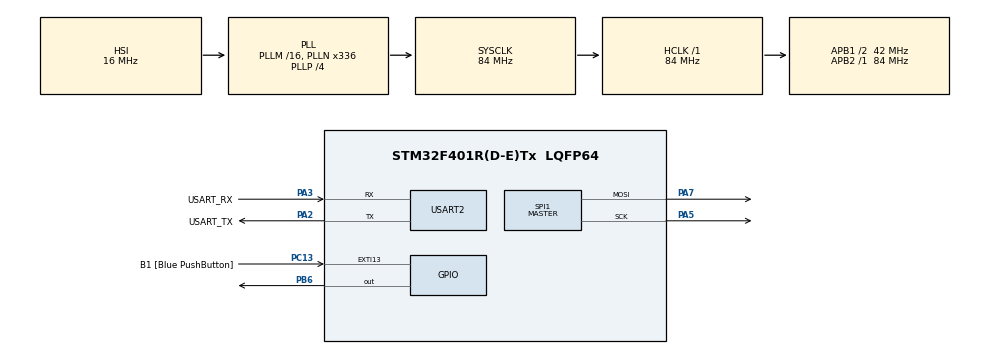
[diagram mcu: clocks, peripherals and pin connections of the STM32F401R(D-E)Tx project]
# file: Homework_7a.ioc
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Mcu.Family=STM32F4
Mcu.Name=STM32F401R(D-E)Tx
Mcu.Package=LQFP64
NVIC.PriorityGroup=NVIC_PRIORITYGROUP_0
NVIC.TIM2_IRQn=true\:0\:0\:false\:false\:true\:true\:true\:true
PA13.GPIO_Label=TMS
PA13.Mode=Serial_Wire
PA13.Signal=SYS_JTMS-SWDIO
PA14.GPIO_Label=TCK
PA14.Mode=Serial_Wire
PA14.Signal=SYS_JTCK-SWCLK
PA2.GPIO_Label=USART_TX
PA2.GPIO_Mode=GPIO_MODE_AF_PP
PA2.GPIO_PuPd=GPIO_NOPULL
PA2.GPIO_Speed=GPIO_SPEED_FREQ_LOW
PA2.Mode=Asynchronous
PA2.Signal=USART2_TX
PA3.GPIO_Label=USART_RX
PA3.GPIO_Mode=GPIO_MODE_AF_PP
PA3.GPIO_PuPd=GPIO_NOPULL
PA3.GPIO_Speed=GPIO_SPEED_FREQ_LOW
PA3.Mode=Asynchronous
PA3.Signal=USART2_RX
PA5.Mode=TX_Only_Simplex_Unidirect_Master
PA5.Signal=SPI1_SCK
PA6.Signal=SPI1_MISO
PA7.Mode=TX_Only_Simplex_Unidirect_Master
PA7.Signal=SPI1_MOSI
PB3.GPIO_Label=SWO
PB3.Signal=SYS_JTDO-SWO
PB6.Signal=GPIO_Output
PC13-ANTI_TAMP.GPIO_Label=B1 [Blue PushButton]
PC13-ANTI_TAMP.GPIO_ModeDefaultEXTI=GPIO_MODE_IT_FALLING
PC13-ANTI_TAMP.GPIO_PuPd=GPIO_NOPULL
PC13-ANTI_TAMP.Signal=GPXTI13
PC14-OSC32_IN.Mode=LSE-External-Oscillator
PC14-OSC32_IN.Signal=RCC_OSC32_IN
PC15-OSC32_OUT.Mode=LSE-External-Oscillator
PC15-OSC32_OUT.Signal=RCC_OSC32_OUT
PH0\ -\ OSC_IN.Mode=HSE-External-Clock-Source
PH0\ -\ OSC_IN.Signal=RCC_OSC_IN
PH1\ -\ OSC_OUT.Mode=HSE-External-Clock-Source
PH1\ -\ OSC_OUT.Signal=RCC_OSC_OUT
ProjectManager.HeapSize=0x200
ProjectManager.StackSize=0x400
ProjectManager.TargetToolchain=STM32CubeIDE
RCC.48MHZClocksFreq_Value=48000000
RCC.AHBFreq_Value=84000000
RCC.APB1CLKDivider=RCC_HCLK_DIV2
RCC.APB1Freq_Value=42000000
RCC.APB1TimFreq_Value=84000000
RCC.APB2Freq_Value=84000000
RCC.APB2TimFreq_Value=84000000
RCC.CortexFreq_Value=84000000
RCC.HCLKFreq_Value=84000000
RCC.HSE_VALUE=8000000
RCC.HSI_VALUE=16000000
RCC.PLLN=336
RCC.PLLP=RCC_PLLP_DIV4
RCC.PLLQ=7
RCC.SYSCLKFreq_VALUE=84000000
RCC.SYSCLKSource=RCC_SYSCLKSOURCE_PLLCLK
RCC.VCOOutputFreq_Value=336000000
SPI1.BaudRatePrescaler=SPI_BAUDRATEPRESCALER_4
SPI1.Direction=SPI_DIRECTION_2LINES
SPI1.Mode=SPI_MODE_MASTER
SPI1.VirtualType=VM_MASTER
TIM2.Period=40-1
TIM2.Prescaler=8400-1
USART2.VirtualMode=VM_ASYNC
VP_TIM2_VS_ClockSourceINT.Mode=Internal
board=NUCLEO-F401RE

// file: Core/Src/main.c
/* USER CODE BEGIN Header */
/**
  ******************************************************************************
  * @file           : main.c
  * @brief          : Main program body
  ******************************************************************************
  * @attention
  *
  * Copyright (c) 2023 STMicroelectronics.
  * All rights reserved.
  *
  * This software is licensed under terms that can be found in the LICENSE file
  * in the root directory of this software component.
  * If no LICENSE file comes with this software, it is provided AS-IS.
  *
  ******************************************************************************
  */
/* USER CODE END Header */
#include "main.h"

/* USER CODE BEGIN PTD */
typedef struct {
    int column;
    int row;
} matrix;
/* USER CODE END PTD */

SPI_HandleTypeDef hspi1;

TIM_HandleTypeDef htim2;

UART_HandleTypeDef huart2;

/* USER CODE BEGIN PV */
uint8_t timeout_ms = 50;
uint8_t position = 0;
matrix letter[5] = {{16,31},{8,36},{4,68},{2,36},{1,31}};
uint16_t buffer[5] ;
/* USER CODE END PV */

void SystemClock_Config(void);
static void MX_GPIO_Init(void);
static void MX_USART2_UART_Init(void);
static void MX_SPI1_Init(void);
static void MX_TIM2_Init(void);

/* USER CODE BEGIN 0 */
void HAL_TIM_PeriodElapsedCallback(TIM_HandleTypeDef *htim){
	if (htim==&htim2){
		HAL_SPI_Transmit(&hspi1,(uint8_t*)&buffer[position], 2, timeout_ms);
		HAL_GPIO_WritePin(GPIOB,GPIO_PIN_6, GPIO_PIN_SET);
		HAL_GPIO_WritePin(GPIOB,GPIO_PIN_6, GPIO_PIN_RESET);
		if(position < 5){
			position++;
		} else position = 0;
	}
}
/* USER CODE END 0 */

int main(void)
{

  /* MCU Configuration--------------------------------------------------------*/

  /* Reset of all peripherals, Initializes the Flash interface and the Systick. */
  HAL_Init();

  /* Configure the system clock */
  SystemClock_Config();

  /* Initialize all configured peripherals */
  MX_GPIO_Init();
  MX_USART2_UART_Init();
  MX_SPI1_Init();
  MX_TIM2_Init();
  /* USER CODE BEGIN 2 */

  // Place all elements in a buffer to be sent by SPI
  for (int i = 0; i < 5; i++) {
      buffer[i] = (uint16_t)((letter[i].column << 8) | (letter[i].row & 0xFF));
  }

  // Buffer is ready, execution may start
  HAL_TIM_Base_Start_IT(&htim2);

  /* USER CODE END 2 */

  /* Infinite loop */
  while (1)
  {

  }
}

void SystemClock_Config(void)
{
  RCC_OscInitTypeDef RCC_OscInitStruct = {0};
  RCC_ClkInitTypeDef RCC_ClkInitStruct = {0};

  /** Configure the main internal regulator output voltage
  */
  __HAL_RCC_PWR_CLK_ENABLE();
  __HAL_PWR_VOLTAGESCALING_CONFIG(PWR_REGULATOR_VOLTAGE_SCALE2);

  /** Initializes the RCC Oscillators according to the specified parameters
  * in the RCC_OscInitTypeDef structure.
  */
  RCC_OscInitStruct.OscillatorType = RCC_OSCILLATORTYPE_HSI;
  RCC_OscInitStruct.HSIState = RCC_HSI_ON;
  RCC_OscInitStruct.HSICalibrationValue = RCC_HSICALIBRATION_DEFAULT;
  RCC_OscInitStruct.PLL.PLLState = RCC_PLL_ON;
  RCC_OscInitStruct.PLL.PLLSource = RCC_PLLSOURCE_HSI;
  RCC_OscInitStruct.PLL.PLLM = 16;
  RCC_OscInitStruct.PLL.PLLN = 336;
  RCC_OscInitStruct.PLL.PLLP = RCC_PLLP_DIV4;
  RCC_OscInitStruct.PLL.PLLQ = 7;
  if (HAL_RCC_OscConfig(&RCC_OscInitStruct) != HAL_OK)
  {
    Error_Handler();
  }

  /** Initializes the CPU, AHB and APB buses clocks
  */
  RCC_ClkInitStruct.ClockType = RCC_CLOCKTYPE_HCLK|RCC_CLOCKTYPE_SYSCLK
                              |RCC_CLOCKTYPE_PCLK1|RCC_CLOCKTYPE_PCLK2;
  RCC_ClkInitStruct.SYSCLKSource = RCC_SYSCLKSOURCE_PLLCLK;
  RCC_ClkInitStruct.AHBCLKDivider = RCC_SYSCLK_DIV1;
  RCC_ClkInitStruct.APB1CLKDivider = RCC_HCLK_DIV2;
  RCC_ClkInitStruct.APB2CLKDivider = RCC_HCLK_DIV1;

  if (HAL_RCC_ClockConfig(&RCC_ClkInitStruct, FLASH_LATENCY_2) != HAL_OK)
  {
    Error_Handler();
  }
}

static void MX_SPI1_Init(void)
{

  /* SPI1 parameter configuration*/
  hspi1.Instance = SPI1;
  hspi1.Init.Mode = SPI_MODE_MASTER;
  hspi1.Init.Direction = SPI_DIRECTION_2LINES;
  hspi1.Init.DataSize = SPI_DATASIZE_8BIT;
  hspi1.Init.CLKPolarity = SPI_POLARITY_LOW;
  hspi1.Init.CLKPhase = SPI_PHASE_1EDGE;
  hspi1.Init.NSS = SPI_NSS_SOFT;
  hspi1.Init.BaudRatePrescaler = SPI_BAUDRATEPRESCALER_4;
  hspi1.Init.FirstBit = SPI_FIRSTBIT_MSB;
  hspi1.Init.TIMode = SPI_TIMODE_DISABLE;
  hspi1.Init.CRCCalculation = SPI_CRCCALCULATION_DISABLE;
  hspi1.Init.CRCPolynomial = 10;
  if (HAL_SPI_Init(&hspi1) != HAL_OK)
  {
    Error_Handler();
  }

}

static void MX_TIM2_Init(void)
{

  TIM_ClockConfigTypeDef sClockSourceConfig = {0};
  TIM_MasterConfigTypeDef sMasterConfig = {0};

  htim2.Instance = TIM2;
  htim2.Init.Prescaler = 8400-1;
  htim2.Init.CounterMode = TIM_COUNTERMODE_UP;
  htim2.Init.Period = 40-1;
  htim2.Init.ClockDivision = TIM_CLOCKDIVISION_DIV1;
  htim2.Init.AutoReloadPreload = TIM_AUTORELOAD_PRELOAD_DISABLE;
  if (HAL_TIM_Base_Init(&htim2) != HAL_OK)
  {
    Error_Handler();
  }
  sClockSourceConfig.ClockSource = TIM_CLOCKSOURCE_INTERNAL;
  if (HAL_TIM_ConfigClockSource(&htim2, &sClockSourceConfig) != HAL_OK)
  {
    Error_Handler();
  }
  sMasterConfig.MasterOutputTrigger = TIM_TRGO_RESET;
  sMasterConfig.MasterSlaveMode = TIM_MASTERSLAVEMODE_DISABLE;
  if (HAL_TIMEx_MasterConfigSynchronization(&htim2, &sMasterConfig) != HAL_OK)
  {
    Error_Handler();
  }

}

static void MX_USART2_UART_Init(void)
{

  huart2.Instance = USART2;
  huart2.Init.BaudRate = 115200;
  huart2.Init.WordLength = UART_WORDLENGTH_8B;
  huart2.Init.StopBits = UART_STOPBITS_1;
  huart2.Init.Parity = UART_PARITY_NONE;
  huart2.Init.Mode = UART_MODE_TX_RX;
  huart2.Init.HwFlowCtl = UART_HWCONTROL_NONE;
  huart2.Init.OverSampling = UART_OVERSAMPLING_16;
  if (HAL_UART_Init(&huart2) != HAL_OK)
  {
    Error_Handler();
  }

}

static void MX_GPIO_Init(void)
{
  GPIO_InitTypeDef GPIO_InitStruct = {0};

  /* GPIO Ports Clock Enable */
  __HAL_RCC_GPIOC_CLK_ENABLE();
  __HAL_RCC_GPIOH_CLK_ENABLE();
  __HAL_RCC_GPIOA_CLK_ENABLE();
  __HAL_RCC_GPIOB_CLK_ENABLE();

  /*Configure GPIO pin Output Level */
  HAL_GPIO_WritePin(GPIOB, GPIO_PIN_6, GPIO_PIN_RESET);

  /*Configure GPIO pin : B1_Pin */
  GPIO_InitStruct.Pin = B1_Pin;
  GPIO_InitStruct.Mode = GPIO_MODE_IT_FALLING;
  GPIO_InitStruct.Pull = GPIO_NOPULL;
  HAL_GPIO_Init(B1_GPIO_Port, &GPIO_InitStruct);

  /*Configure GPIO pin : PB6 */
  GPIO_InitStruct.Pin = GPIO_PIN_6;
  GPIO_InitStruct.Mode = GPIO_MODE_OUTPUT_PP;
  GPIO_InitStruct.Pull = GPIO_NOPULL;
  GPIO_InitStruct.Speed = GPIO_SPEED_FREQ_LOW;
  HAL_GPIO_Init(GPIOB, &GPIO_InitStruct);

}

void Error_Handler(void)
{
  __disable_irq();
  while (1)
  {
  }
}
